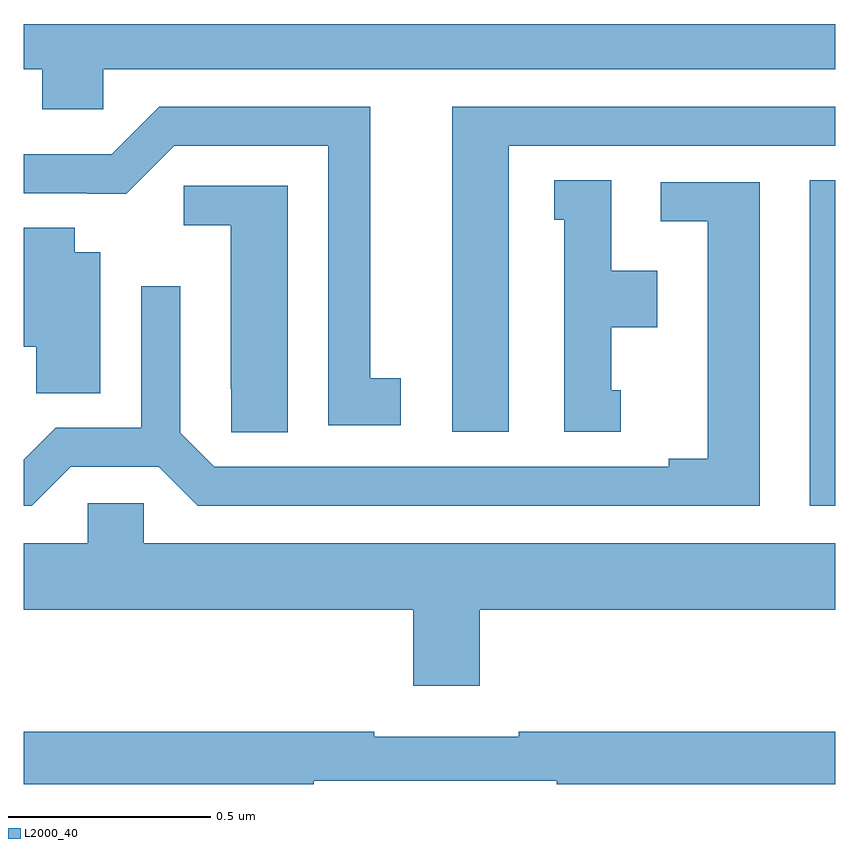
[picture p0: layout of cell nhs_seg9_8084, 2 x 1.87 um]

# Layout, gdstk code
import gdstk
lib = gdstk.Library(unit=1e-6, precision=1e-09)
def R(c, l, rs):  # rectangles x0, y0, x1, y1
    for r in rs: c.add(gdstk.rectangle(r[:2], r[2:], *l))
def P(c, l, *ps):  # polygons
    for p in ps: c.add(gdstk.Polygon(p, *l))
L2000_40 = (2000, 40)

nhs_seg9_8084 = lib.new_cell('nhs_seg9_8084')
R(nhs_seg9_8084, L2000_40, [(213.938,1227.312,214,1228.115)])
P(nhs_seg9_8084, L2000_40, [(212.196,1228.388),(214,1228.388),(214,1228.5),(212,1228.5),(212,1228.388),(212.045,1228.388),(212.045,1228.29),(212.196,1228.29)],
  [(213.196,1228.2),(214,1228.2),(214,1228.296),(213.056,1228.296),(213.056,1227.495),(213.196,1227.495)],
  [(212.929,1227.626),(212.854,1227.626),(212.854,1228.296),(212.334,1228.296),(212.217,1228.179),(212,1228.179),(212,1228.083),(212.156,1228.083),(212.156,1228.082),(212.252,1228.082),(212.37,1228.2),(212.75,1228.2),(212.75,1227.51),(212.929,1227.51)],
  [(213.472,1227.597),(213.448,1227.597),(213.448,1227.752),(213.562,1227.752),(213.562,1227.892),(213.448,1227.892),(213.448,1228.115),(213.308,1228.115),(213.308,1228.017),(213.332,1228.017),(213.332,1227.495),(213.472,1227.495)],
  [(212.115,1227.408),(212.333,1227.408),(212.429,1227.312),(213.814,1227.312),(213.814,1228.11),(213.57,1228.11),(213.57,1228.014),(213.686,1228.014),(213.686,1227.428),(213.59,1227.428),(213.59,1227.408),(212.469,1227.408),(212.385,1227.492),(212.385,1227.853),(212.289,1227.853),(212.289,1227.504),(212.079,1227.504),(212,1227.425),(212,1227.312),(212.019,1227.312)],
  [(212.65,1228.101),(212.394,1228.101),(212.394,1228.004),(212.51,1228.004),(212.51,1227.601),(212.511,1227.601),(212.511,1227.493),(212.65,1227.493)],
  [(212.188,1227.937),(212.125,1227.937),(212.125,1227.998),(212,1227.998),(212,1227.704),(212.03,1227.704),(212.03,1227.589),(212.188,1227.589)],
  [(213.124,1227.056),(214,1227.056),(214,1227.22),(212.295,1227.22),(212.295,1227.318),(212.157,1227.318),(212.157,1227.22),(212,1227.22),(212,1227.056),(212.96,1227.056),(212.96,1226.868),(213.124,1226.868)],
  [(212.714,1226.634),(213.314,1226.634),(213.314,1226.626),(214,1226.626),(214,1226.755),(213.22,1226.755),(213.22,1226.742),(212.864,1226.742),(212.864,1226.755),(212,1226.755),(212,1226.626),(212.714,1226.626)])

lib.write_gds('nhs_seg9_8084.gds')
